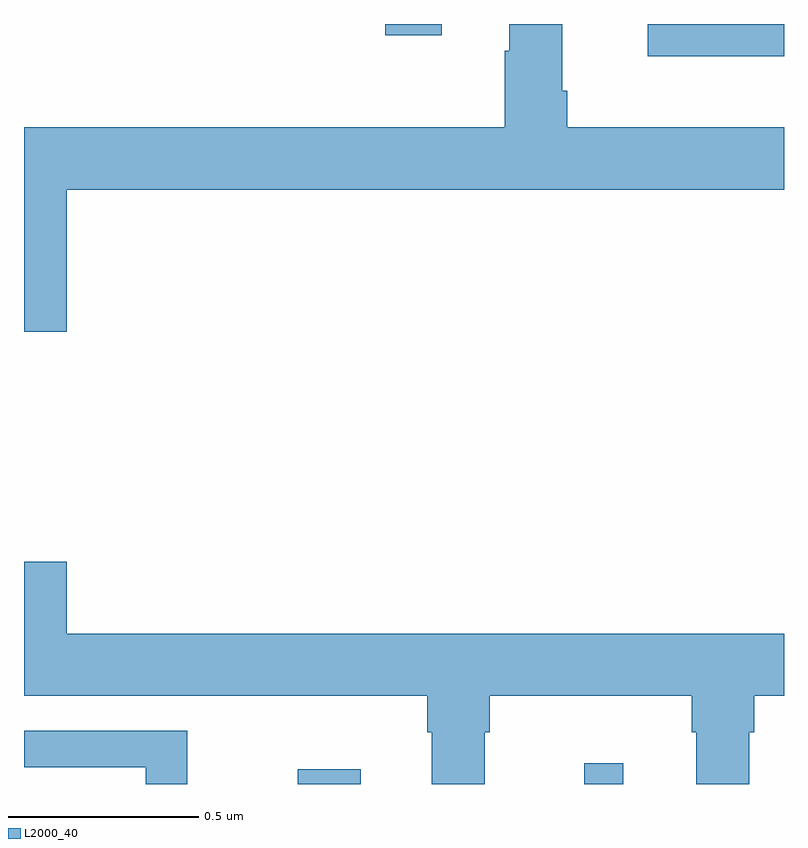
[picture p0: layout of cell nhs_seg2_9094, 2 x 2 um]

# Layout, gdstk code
import gdstk
lib = gdstk.Library(unit=1e-6, precision=1e-09)
def R(c, l, rs):  # rectangles x0, y0, x1, y1
    for r in rs: c.add(gdstk.rectangle(r[:2], r[2:], *l))
def P(c, l, *ps):  # polygons
    for p in ps: c.add(gdstk.Polygon(p, *l))
L2000_40 = (2000, 40)

nhs_seg2_9094 = lib.new_cell('nhs_seg2_9094')
R(nhs_seg2_9094, L2000_40, [(225.721,584.8,225.886,584.839), (226.474,584.8,226.577,584.854), (226.642,586.715,227,586.8), (225.951,586.77,226.099,586.8)])
P(nhs_seg2_9094, L2000_40, [(225.112,586.364),(227,586.364),(227,586.528),(226.43,586.528),(226.43,586.624),(226.417,586.624),(226.417,586.8),(226.277,586.8),(226.277,586.73),(226.265,586.73),(226.265,586.528),(225,586.528),(225,585.99),(225.112,585.99)],
  [(226.213,584.936),(226.226,584.936),(226.226,585.032),(226.757,585.032),(226.757,584.936),(226.769,584.936),(226.769,584.8),(226.909,584.8),(226.909,584.936),(226.922,584.936),(226.922,585.032),(227,585.032),(227,585.196),(225.112,585.196),(225.112,585.385),(225,585.385),(225,585.032),(226.061,585.032),(226.061,584.936),(226.073,584.936),(226.073,584.8),(226.213,584.8)],
  [(225.43,584.94),(225,584.94),(225,584.844),(225.321,584.844),(225.321,584.8),(225.43,584.8)])

lib.write_gds('nhs_seg2_9094.gds')
